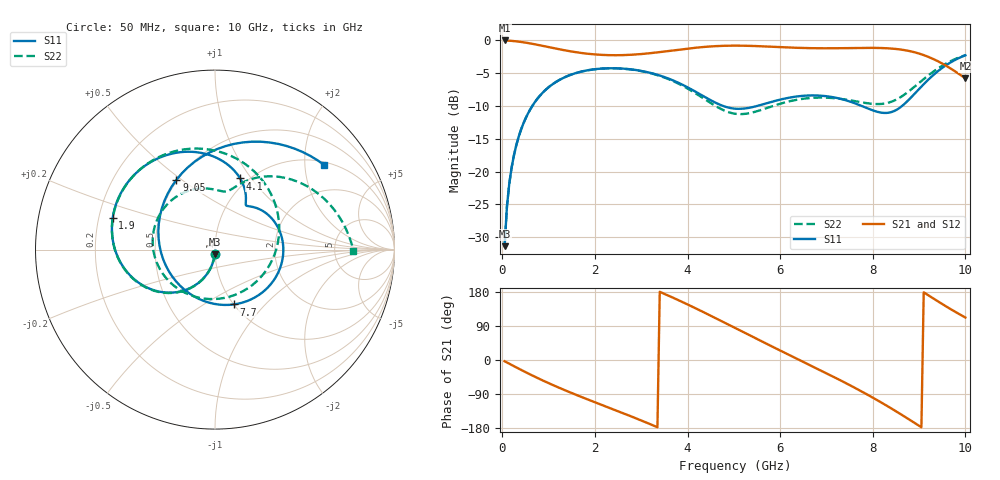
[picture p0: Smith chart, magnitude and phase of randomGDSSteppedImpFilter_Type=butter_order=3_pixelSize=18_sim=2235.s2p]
! freq	dB(S11)	phase(S11)	dB(S12)	phase(S12)
!  dB(S21)	phase(S21)	dB(S22)	phase(S22)
!S-par simulation data
#  GHz  S  DB  R 50
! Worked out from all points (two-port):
!   200 points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, 50 MHz to 10 GHz, reference 50 ohm
!   highest |S21| = -0.01 dB at 50 MHz (marker M1); lowest = -5.8 dB at 10 GHz (marker M2)
!   |S21| within 3 dB of the highest: start of sweep to 9.358 GHz
!   lowest |S11| = -31.4 dB at 50 MHz (marker M3), VSWR 1.06, Z = 49.8 - j2.69 ohm
!   |S11| at or under -10 dB: start of sweep to 647.9 MHz; 4.771 GHz to 5.5 GHz (729.2 MHz wide, 14.2 % of centre); 7.762 GHz to 8.631 GHz (868.9 MHz wide, 10.6 % of centre)
!   |S22| runs from -31.4 to -2.3 dB; largest |S21 - S12| = 0
!   S11 on the Smith chart (normalised r, x): 50 MHz: 1.00, -0.05; 1.9 GHz: 0.26, +0.14; 4.1 GHz: 0.92, +0.88; 7.7 GHz: 1.00, -0.68; 9.05 GHz: 0.49, +0.48; 10 GHz: 1.09, +2.52
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0.05  -31.37 -93.4  -0.01 -3.3  -0.01 -3.3  -31.37 -93.4
0.1  -25.38 -96.8  -0.02 -6.6  -0.02 -6.6  -25.37 -96.7
0.2  -19.44 -103.5  -0.07 -13.0  -0.07 -13.0  -19.44 -103.3
0.5  -11.94 -122.6  -0.33 -31.9  -0.33 -31.9  -11.94 -122.3
1.05  -6.86 -154.6  -1.09 -63.8  -1.09 -63.8  -6.86 -154.1
1.75  -4.69 170.0  -1.95 -99.6  -1.95 -99.6  -4.69 169.9
1.9  -4.49 163.0  -2.07 -106.8  -2.07 -106.8  -4.49 162.6
2.75  -4.39 124.9  -2.20 -147.2  -2.20 -147.2  -4.41 120.2
3.4  -5.35 96.9  -1.78 179.9  -1.78 179.9  -5.41 83.2
4.1  -7.53 70.5  -1.17 140.8  -1.17 140.8  -7.75 32.8
4.6  -9.49 59.1  -0.88 110.8  -0.88 110.8  -9.98 -15.2
5.05  -10.42 55.1  -0.80 83.0  -0.80 83.0  -11.20 -67.7
5.45  -10.09 50.0  -0.85 58.4  -0.85 58.4  -10.90 -113.3
5.9  -9.21 37.0  -0.99 31.1  -0.99 31.1  -9.87 -155.7
6.7  -8.39 -0.8  -1.19 -16.8  -1.19 -16.8  -8.76 147.1
7.2  -8.74 -31.8  -1.19 -47.2  -1.19 -47.2  -8.83 118.3
7.7  -9.82 -71.2  -1.15 -79.1  -1.15 -79.1  -9.37 95.0
8.35  -11.01 -148.0  -1.22 -124.1  -1.22 -124.1  -9.47 77.1
8.7  -9.58 162.0  -1.50 -150.3  -1.50 -150.3  -8.18 69.3
9.05  -7.04 118.9  -2.12 -177.5  -2.12 -177.5  -6.19 56.1
9.5  -4.19 75.3  -3.53 147.7  -3.53 147.7  -3.86 31.1
10  -2.27 37.6  -5.79 112.1  -5.79 112.1  -2.26 -0.5
